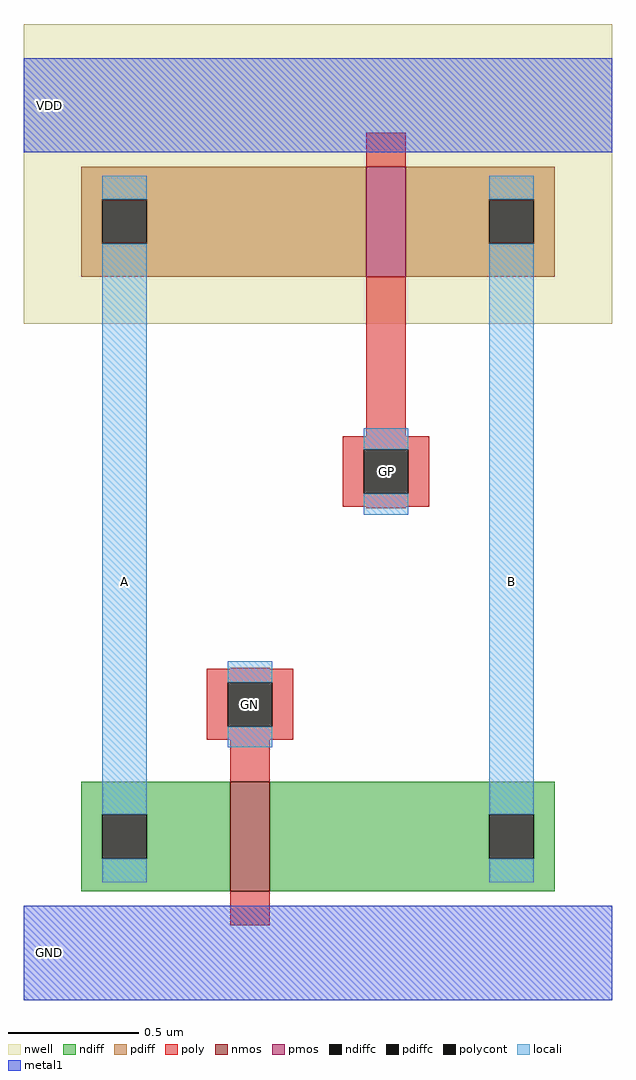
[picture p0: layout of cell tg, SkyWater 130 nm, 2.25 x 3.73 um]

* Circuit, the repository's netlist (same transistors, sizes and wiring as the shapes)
* NGSPICE file created from tg.ext - technology: sky130A

.subckt tg A B GN GP VDD GND
X0 B GN A VSUBS sky130_fd_pr__nfet_01v8 ad=0.4578 pd=3.02 as=0.2394 ps=1.98 w=0.42 l=0.15
X1 B GP A w_0_481# sky130_fd_pr__pfet_01v8 ad=0.2394 pd=1.98 as=0.4578 ps=3.02 w=0.42 l=0.15
.ends

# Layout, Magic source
magic
tech sky130A
magscale 1 2
<< nwell >>
rect 0 481 450 710
<< nmos >>
rect 158 47 188 131
<< pmos >>
rect 262 517 292 601
<< ndiff >>
rect 44 106 158 131
rect 44 72 60 106
rect 94 72 158 106
rect 44 47 158 72
rect 188 106 406 131
rect 188 72 356 106
rect 390 72 406 106
rect 188 47 406 72
<< pdiff >>
rect 44 576 262 601
rect 44 542 60 576
rect 94 542 262 576
rect 44 517 262 542
rect 292 576 406 601
rect 292 542 356 576
rect 390 542 406 576
rect 292 517 406 542
<< ndiffc >>
rect 60 72 94 106
rect 356 72 390 106
<< pdiffc >>
rect 60 542 94 576
rect 356 542 390 576
<< poly >>
rect 262 601 292 627
rect 262 395 292 517
rect 244 385 310 395
rect 244 351 260 385
rect 294 351 310 385
rect 244 341 310 351
rect 262 340 292 341
rect 158 217 188 218
rect 140 207 206 217
rect 140 173 156 207
rect 190 173 206 207
rect 140 163 206 173
rect 158 131 188 163
rect 158 21 188 47
<< polycont >>
rect 260 351 294 385
rect 156 173 190 207
<< locali >>
rect 60 576 94 594
rect 60 106 94 542
rect 356 576 390 594
rect 260 385 294 401
rect 260 335 294 351
rect 156 207 190 223
rect 156 157 190 173
rect 60 54 94 72
rect 356 106 390 542
rect 356 54 390 72
<< metal1 >>
rect 0 612 450 684
rect 0 -36 450 36
<< labels >>
rlabel locali 77 284 77 284 0 A
port 1 nsew
rlabel locali 373 284 373 284 0 B
port 2 nsew
rlabel polycont 173 190 173 190 0 GN
port 3 nsew
rlabel polycont 277 368 277 368 0 GP
port 4 nsew
rlabel metal1 20 648 20 648 0 VDD
port 5 nsew
rlabel metal1 20 0 20 0 0 GND
port 6 nsew
<< end >>
